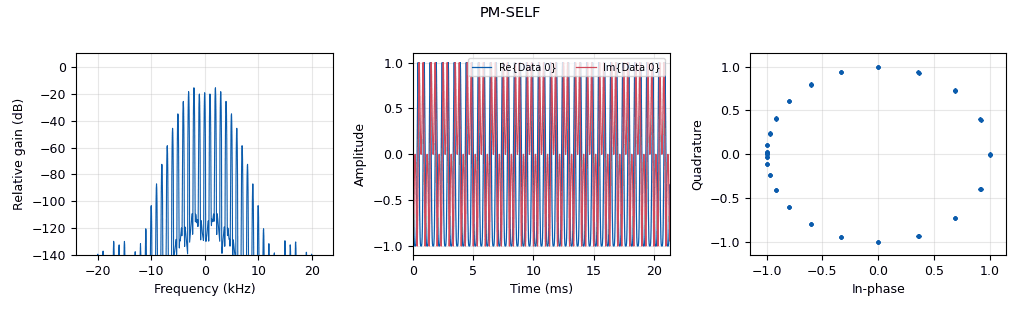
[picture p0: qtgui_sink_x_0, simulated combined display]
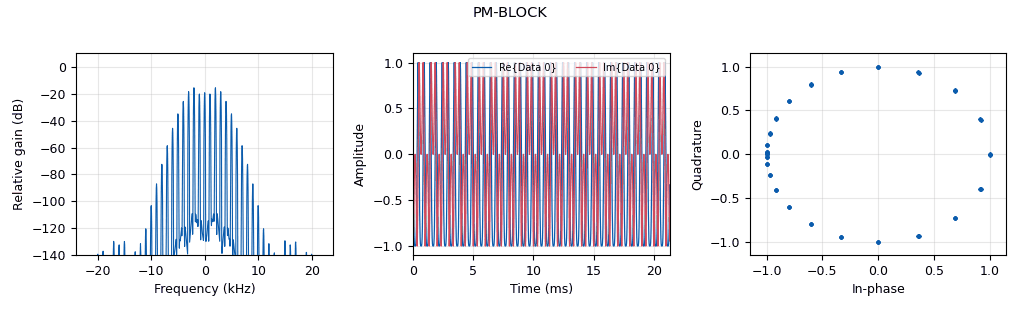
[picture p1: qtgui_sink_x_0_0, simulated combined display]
options:
  parameters:
    author: btfz
    generate_options: qt_gui
    id: PM
    output_language: python
    title: Not titled yet
  states: {}

blocks:
- name: n
  id: variable_qtgui_range
  parameters:
    rangeType: int
    start: '1'
    step: '2'
    stop: '8'
    value: '8'
  states: {}
- name: samp_rate
  id: variable
  parameters:
    value: '48000'
  states: {}
- name: sens
  id: variable
  parameters:
    value: 3.14159*n/8
  states: {}
- name: analog_phase_modulator_fc_0
  id: analog_phase_modulator_fc
  parameters:
    sensitivity: sens
  states: {}
- name: analog_sig_source_x_0
  id: analog_sig_source_x
  parameters:
    amp: '1'
    comment: in，取值范围：-1~1
    freq: '1000'
    offset: '0'
    phase: '0'
    samp_rate: samp_rate
    type: float
    waveform: analog.GR_COS_WAVE
  states: {}
- name: blocks_float_to_complex_0
  id: blocks_float_to_complex
  parameters:
    comment: complex(cos,sin)
  states: {}
- name: blocks_multiply_const_vxx_0
  id: blocks_multiply_const_vxx
  parameters:
    comment: |-
      in*sensitivity
      这里 sens = pi*n/8 (n取值范围是：1~8）
    const: sens
    type: float
  states: {}
- name: blocks_throttle2_0
  id: blocks_throttle2
  parameters:
    comment: 节流阀，控制流速
    samples_per_second: samp_rate
    type: complex
  states: {}
- name: blocks_transcendental_0
  id: blocks_transcendental
  parameters:
    comment: sin(in*sens)
    name: sin
    type: float
  states: {}
- name: blocks_transcendental_0_0
  id: blocks_transcendental
  parameters:
    comment: cos(in*sens)
    name: cos
    type: float
  states: {}
- name: note_0
  id: note
  parameters:
    comment: |-
      Phase modulator. output = complex(cos(in*sensitivity), sin(in*sensitivity))
      上面流程图就是对该公式的实现，我们用 cos 作为输入，通过调节 n 的不同值，在 IQ 星座图中看调相的结果：

      - 当 n = 8 时，[-1,1] 的输入，能够产生 [-pi,pi] 的相位偏移（因此会是整个圆）
      - 当 n = 4 时，[-1,1] 的输入，能够产生 [-pi/2,pi/2] 的相位偏移（因此是右半边圆）
      - 当 n = 2 时，[-1,1] 的输入，能够产生 [-pi/4,pi/4] 的相位偏移（因此是右边 1/4 个圆）

      注意：上面几个块实现的功能和 GNU Radio 官方封装的一个 Phase Mod 一样
    note: 说明
  states: {}
- name: qtgui_sink_x_0
  id: qtgui_sink_x
  parameters:
    bw: samp_rate
    fc: '0'
    fftsize: '1024'
    name: '"PM-SELF"'
    type: complex
  states: {}
- name: qtgui_sink_x_0_0
  id: qtgui_sink_x
  parameters:
    bw: samp_rate
    fc: '0'
    fftsize: '1024'
    name: '"PM-BLOCK"'
    type: complex
  states: {}

connections:
- [analog_phase_modulator_fc_0, '0', qtgui_sink_x_0_0, '0']
- [analog_sig_source_x_0, '0', analog_phase_modulator_fc_0, '0']
- [analog_sig_source_x_0, '0', blocks_multiply_const_vxx_0, '0']
- [blocks_float_to_complex_0, '0', blocks_throttle2_0, '0']
- [blocks_multiply_const_vxx_0, '0', blocks_transcendental_0, '0']
- [blocks_multiply_const_vxx_0, '0', blocks_transcendental_0_0, '0']
- [blocks_throttle2_0, '0', qtgui_sink_x_0, '0']
- [blocks_transcendental_0, '0', blocks_float_to_complex_0, '1']
- [blocks_transcendental_0_0, '0', blocks_float_to_complex_0, '0']

metadata:
  file_format: 1
  grc_version: 3.10.12.0
